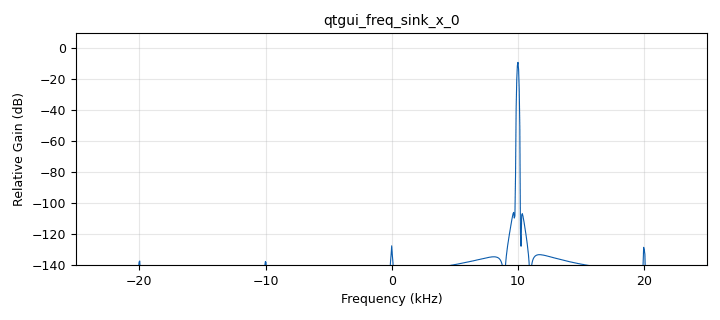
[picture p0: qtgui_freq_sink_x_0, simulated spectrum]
options:
  parameters:
    author: sten
    generate_options: qt_gui
    id: Labo_3
    output_language: python
    title: Oefening 1
  states: {}

blocks:
- name: samp_rate
  id: variable
  parameters:
    value: 100e3
  states: {}
- name: analog_sig_source_x_0
  id: analog_sig_source_x
  parameters:
    amp: '1'
    freq: 20e3
    offset: '0'
    phase: '0'
    samp_rate: samp_rate
    type: complex
    waveform: analog.GR_COS_WAVE
  states: {}
- name: blocks_throttle_0
  id: blocks_throttle
  parameters:
    samples_per_second: samp_rate
    type: complex
  states: {}
- name: qtgui_freq_sink_x_0
  id: qtgui_freq_sink_x
  parameters:
    bw: 50e3
    fc: '0'
    fftsize: '1024'
    type: complex
  states: {}

connections:
- [analog_sig_source_x_0, '0', blocks_throttle_0, '0']
- [blocks_throttle_0, '0', qtgui_freq_sink_x_0, '0']

metadata:
  file_format: 1
